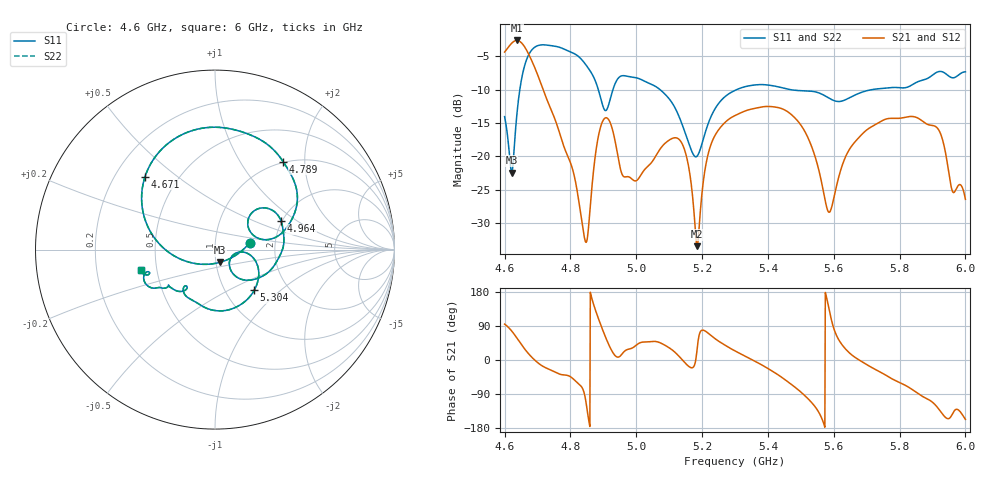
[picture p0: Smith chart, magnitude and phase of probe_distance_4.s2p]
! TOUCHSTONE file generated by CST MICROWAVE STUDIO
! Date and time: Sat Nov 30 13:10:56 2024
! Project name: test_tuning.cst
! Parameters = {airCoaxOuterDiameter=3; chamferAngle=45; chamferWidth=24; connectorLength=10; drillingHoleDiameter=4.1; feedLength=60; flareDiameter=130; flareLength=70; gratingDistance=0; gratingGap=1.90274; outletLength=30; polarizerLength=134; probe1Diameter=1.3; probe1Distance=9.5; probe1Length=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
! Header version: 2024
! Port assignment regex: !\s*Touchstone port\s*([0-9]+)\s*=\s*(CST MWS port|CST DES external port|CST DES block port)\s*(.+)\s* \(\"(.*)\"\)(\s*mode\s*([0-9]+))?.*
! Touchstone port assignment:
! Touchstone port 1 = CST MWS port 1 ("Input1")
! Touchstone port 2 = CST MWS port 2 ("Input2")
# GHz S MA R 50
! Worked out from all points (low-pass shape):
!   1001 points, 4.6 GHz to 6 GHz, reference 50 ohm
!   highest |S21| = -2.68 dB at 4.638 GHz (marker M1); lowest = -33.4 dB at 5.185 GHz (marker M2)
!   |S21| within 3 dB of the highest: start of sweep to 4.682 GHz
!   lowest |S11| = -22.4 dB at 4.621 GHz (marker M3), VSWR 1.16, Z = 52 - j7.49 ohm
!   |S11| at or under -10 dB: start of sweep to 4.646 GHz; 5.072 GHz to 5.306 GHz (233.9 MHz wide, 4.51 % of centre); 5.466 GHz to 5.718 GHz (251.7 MHz wide, 4.5 % of centre)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
!   |S22| runs from -22.4 to -3.3 dB; largest |S21 - S12| = 2e-06
!   S11 on the Smith chart (normalised r, x): 4.6 GHz: 1.48, +0.12; 4.671 GHz: 0.33, +0.39; 4.789 GHz: 0.99, +1.57; 4.964 GHz: 1.98, +0.74; 5.304 GHz: 1.36, -0.69; 6 GHz: 0.41, -0.11
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4.6  0.1984 11.3  0.602 94.8  0.602 94.8  0.1984 11.3
4.621  0.07589 -70.5  0.6988 77.1  0.6988 77.1  0.07589 -70.5
4.6378  0.2126 -167.6  0.7348 57.4  0.7348 57.4  0.2126 -167.6
4.6714  0.5633 133.8  0.5922 17.9  0.5922 17.9  0.5633 133.8
4.7134  0.6816 93.0  0.3344 -15.1  0.3344 -15.1  0.6816 93.0
4.789  0.6199 52.2  0.1044 -40.3  0.1044 -40.3  0.6199 52.2
4.8338  0.5303 30.2  0.03364 -70.8  0.03364 -70.8  0.5303 30.2
4.8506  0.47 22.6  0.02395 -130.7  0.02395 -130.7  0.47 22.6
4.9038  0.2225 24.0  0.1925 66.5  0.1925 66.5  0.2225 24.0
4.964  0.4009 23.1  0.07042 22.9  0.07042 22.9  0.4009 23.1
5.0676  0.3223 -23.1  0.109 47.1  0.109 47.1  0.3223 -23.1
5.1404  0.1709 -53.2  0.123 -0.1  0.123 -0.1  0.1709 -53.2
5.1852  0.1008 -22.3  0.02141 30.9  0.02141 30.9  0.1008 -22.3
5.2244  0.1916 -7.8  0.1176 66.6  0.1176 66.6  0.1916 -7.8
5.3  0.3115 -44.2  0.2022 24.0  0.2022 24.0  0.3115 -44.2
5.3042  0.315 -46.2  0.2045 22.1  0.2045 22.1  0.315 -46.2
5.5338  0.3067 -120.3  0.1169 -113.2  0.1169 -113.2  0.3067 -120.3
5.587  0.2716 -129.7  0.03839 129.4  0.03839 129.4  0.2716 -129.7
5.65  0.2762 -126.0  0.1154 16.8  0.1154 16.8  0.2762 -126.0
5.7676  0.3257 -139.7  0.1923 -45.1  0.1923 -45.1  0.3257 -139.7
5.9132  0.4254 -151.5  0.1646 -123.1  0.1646 -123.1  0.4254 -151.5
6  0.4287 -164.5  0.04791 -156.6  0.04791 -156.6  0.4287 -164.5
